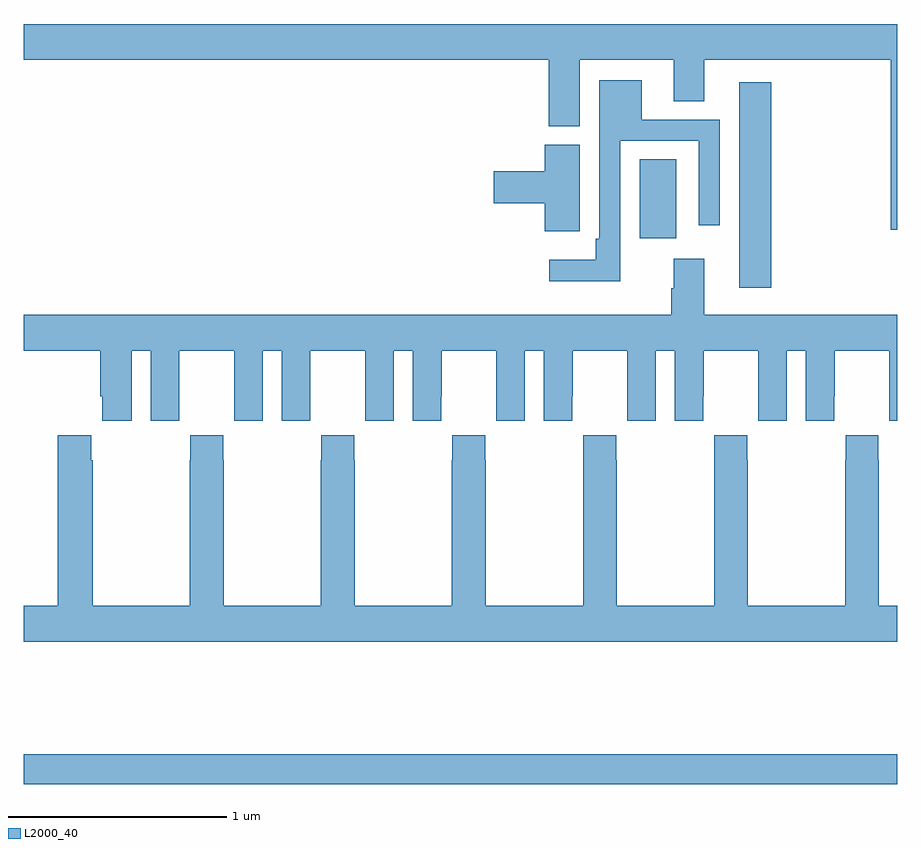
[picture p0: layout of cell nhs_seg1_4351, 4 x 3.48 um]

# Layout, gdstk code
import gdstk
lib = gdstk.Library(unit=1e-6, precision=1e-09)
def R(c, l, rs):  # rectangles x0, y0, x1, y1
    for r in rs: c.add(gdstk.rectangle(r[:2], r[2:], *l))
def P(c, l, *ps):  # polygons
    for p in ps: c.add(gdstk.Polygon(p, *l))
L2000_40 = (2000, 40)

nhs_seg1_4351 = lib.new_cell('nhs_seg1_4351')
R(nhs_seg1_4351, L2000_40, [(347,564.4,351,564.536), (350.276,566.673,350.423,567.613), (349.82,566.898,349.987,567.26)])
P(nhs_seg1_4351, L2000_40, [(351,567.88),(347,567.88),(347,567.716),(349.403,567.716),(349.403,567.412),(349.546,567.412),(349.546,567.716),(349.976,567.716),(349.976,567.526),(350.116,567.526),(350.116,567.716),(350.969,567.716),(350.969,566.937),(351,566.937)],
  [(349.731,567.345),(350.091,567.345),(350.091,566.958),(350.187,566.958),(350.187,567.441),(349.831,567.441),(349.831,567.622),(349.635,567.622),(349.635,566.896),(349.619,566.896),(349.619,566.8),(349.407,566.8),(349.407,566.702),(349.731,566.702)],
  [(349.545,567.043),(349.546,567.043),(349.546,567.327),(349.385,567.327),(349.385,567.206),(349.152,567.206),(349.152,567.059),(349.385,567.059),(349.385,566.931),(349.545,566.931)],
  [(347.494,566.384),(347.582,566.384),(347.582,566.064),(347.712,566.064),(347.712,566.176),(347.713,566.176),(347.713,566.384),(347.963,566.384),(347.963,566.176),(347.964,566.176),(347.964,566.064),(348.094,566.064),(348.094,566.384),(348.182,566.384),(348.182,566.064),(348.312,566.064),(348.312,566.176),(348.313,566.176),(348.313,566.384),(348.563,566.384),(348.563,566.176),(348.564,566.176),(348.564,566.064),(348.694,566.064),(348.694,566.384),(348.782,566.384),(348.782,566.064),(348.912,566.064),(348.912,566.176),(348.913,566.176),(348.913,566.384),(349.163,566.384),(349.163,566.176),(349.164,566.176),(349.164,566.064),(349.294,566.064),(349.294,566.384),(349.382,566.384),(349.382,566.064),(349.512,566.064),(349.512,566.176),(349.513,566.176),(349.513,566.384),(349.763,566.384),(349.763,566.176),(349.764,566.176),(349.764,566.064),(349.894,566.064),(349.894,566.384),(349.982,566.384),(349.982,566.064),(350.112,566.064),(350.112,566.176),(350.113,566.176),(350.113,566.384),(350.363,566.384),(350.363,566.176),(350.364,566.176),(350.364,566.064),(350.494,566.064),(350.494,566.384),(350.582,566.384),(350.582,566.064),(350.712,566.064),(350.712,566.176),(350.713,566.176),(350.713,566.384),(350.963,566.384),(350.963,566.176),(350.964,566.176),(350.964,566.064),(351,566.064),(351,566.548),(350.116,566.548),(350.116,566.806),(349.976,566.806),(349.976,566.669),(349.964,566.669),(349.964,566.548),(347,566.548),(347,566.384),(347.351,566.384),(347.351,566.176),(347.36,566.176),(347.36,566.064),(347.494,566.064)],
  [(351,565.216),(350.916,565.216),(350.916,565.883),(350.913,565.883),(350.913,565.996),(350.763,565.996),(350.763,565.883),(350.761,565.883),(350.761,565.216),(350.316,565.216),(350.316,565.883),(350.313,565.883),(350.313,565.996),(350.163,565.996),(350.163,565.883),(350.161,565.883),(350.161,565.216),(349.716,565.216),(349.716,565.883),(349.713,565.883),(349.713,565.996),(349.563,565.996),(349.563,565.883),(349.561,565.883),(349.561,565.216),(349.116,565.216),(349.116,565.883),(349.113,565.883),(349.113,565.996),(348.963,565.996),(348.963,565.883),(348.961,565.883),(348.961,565.216),(348.516,565.216),(348.516,565.883),(348.513,565.883),(348.513,565.996),(348.363,565.996),(348.363,565.883),(348.361,565.883),(348.361,565.216),(347.916,565.216),(347.916,565.883),(347.913,565.883),(347.913,565.996),(347.763,565.996),(347.763,565.883),(347.761,565.883),(347.761,565.216),(347.316,565.216),(347.316,565.883),(347.309,565.883),(347.309,565.996),(347.156,565.996),(347.156,565.216),(347,565.216),(347,565.052),(351,565.052)])

lib.write_gds('nhs_seg1_4351.gds')
